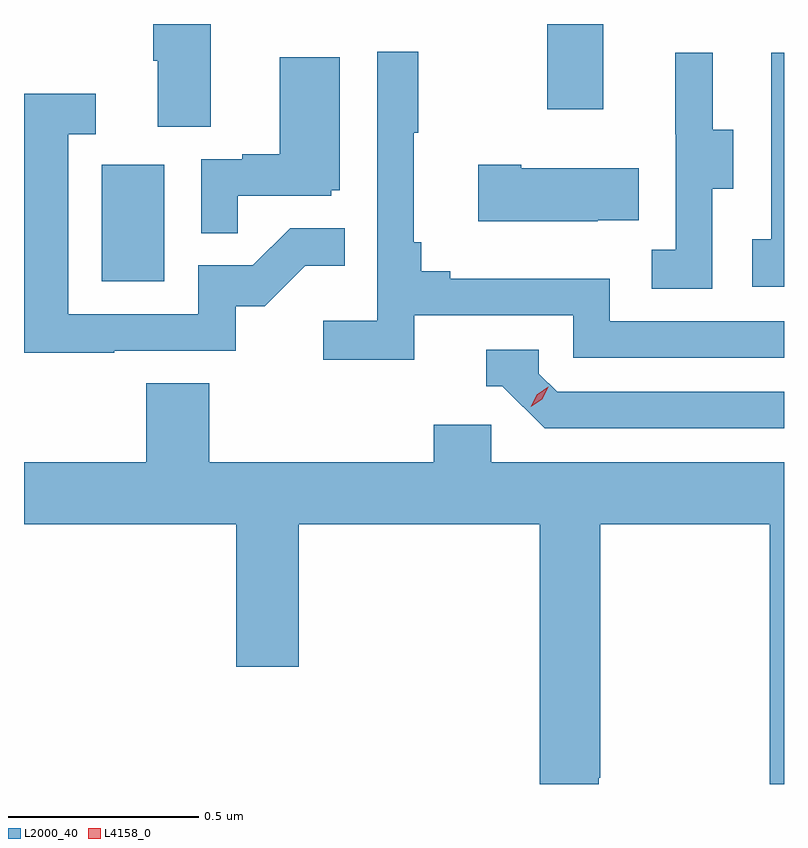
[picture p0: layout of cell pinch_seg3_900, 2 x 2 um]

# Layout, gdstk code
import gdstk
lib = gdstk.Library(unit=1e-6, precision=1e-09)
def R(c, l, rs):  # rectangles x0, y0, x1, y1
    for r in rs: c.add(gdstk.rectangle(r[:2], r[2:], *l))
def P(c, l, *ps):  # polygons
    for p in ps: c.add(gdstk.Polygon(p, *l))
L2000_40 = (2000, 40)
L4158_0 = (4158, 0)

pinch_seg3_900 = lib.new_cell('pinch_seg3_900')
R(pinch_seg3_900, L2000_40, [(823.994,706.884,824.158,707.191), (825.166,707.337,825.313,707.561)])
P(pinch_seg3_900, L2000_40, [(824.281,707.561),(824.129,707.561),(824.129,707.464),(824.141,707.464),(824.141,707.29),(824.281,707.29)],
  [(824.816,706.794),(825.234,706.794),(825.234,706.683),(825.789,706.683),(825.789,706.779),(825.33,706.779),(825.33,706.891),(824.911,706.891),(824.911,706.91),(824.834,706.91),(824.834,706.987),(824.815,706.987),(824.815,707.275),(824.827,707.275),(824.827,707.488),(824.718,707.488),(824.718,706.78),(824.577,706.78),(824.577,706.678),(824.816,706.678)],
  [(825.789,707.485),(825.756,707.485),(825.756,706.994),(825.705,706.994),(825.705,706.869),(825.789,706.869)],
  [(825.6,707.128),(825.655,707.128),(825.655,707.283),(825.601,707.283),(825.601,707.485),(825.503,707.485),(825.503,707.271),(825.504,707.271),(825.504,706.967),(825.441,706.967),(825.441,706.864),(825.6,706.864)],
  [(824.351,707.109),(824.598,707.109),(824.598,707.124),(824.62,707.124),(824.62,707.473),(824.462,707.473),(824.462,707.218),(824.363,707.218),(824.363,707.205),(824.256,707.205),(824.256,707.011),(824.351,707.011)],
  [(824.027,706.701),(824.346,706.701),(824.346,706.818),(824.422,706.818),(824.529,706.925),(824.633,706.925),(824.633,707.024),(824.489,707.024),(824.391,706.926),(824.247,706.926),(824.247,706.797),(823.905,706.797),(823.905,707.271),(823.978,707.271),(823.978,707.377),(823.789,707.377),(823.789,706.696),(824.027,706.696)],
  [(825.299,707.045),(825.407,707.045),(825.407,707.182),(825.097,707.182),(825.097,707.19),(824.985,707.19),(824.985,707.042),(825.299,707.042)],
  [(825.789,706.593),(825.192,706.593),(825.144,706.641),(825.144,706.704),(825.005,706.704),(825.005,706.608),(825.048,706.608),(825.159,706.497),(825.789,706.497)],
  [(825.301,705.577),(825.306,705.577),(825.306,706.244),(825.751,706.244),(825.751,705.561),(825.789,705.561),(825.789,706.408),(825.018,706.408),(825.018,706.506),(824.867,706.506),(824.867,706.408),(824.276,706.408),(824.276,706.616),(824.111,706.616),(824.111,706.408),(823.789,706.408),(823.789,706.244),(824.348,706.244),(824.348,705.87),(824.512,705.87),(824.512,706.244),(825.146,706.244),(825.146,705.561),(825.301,705.561)])
P(pinch_seg3_900, L4158_0, [(825.122,706.554),(825.122,706.554),(825.138,706.586),(825.169,706.606),(825.169,706.606),(825.169,706.606),(825.153,706.573),(825.122,706.554)])

lib.write_gds('pinch_seg3_900.gds')
